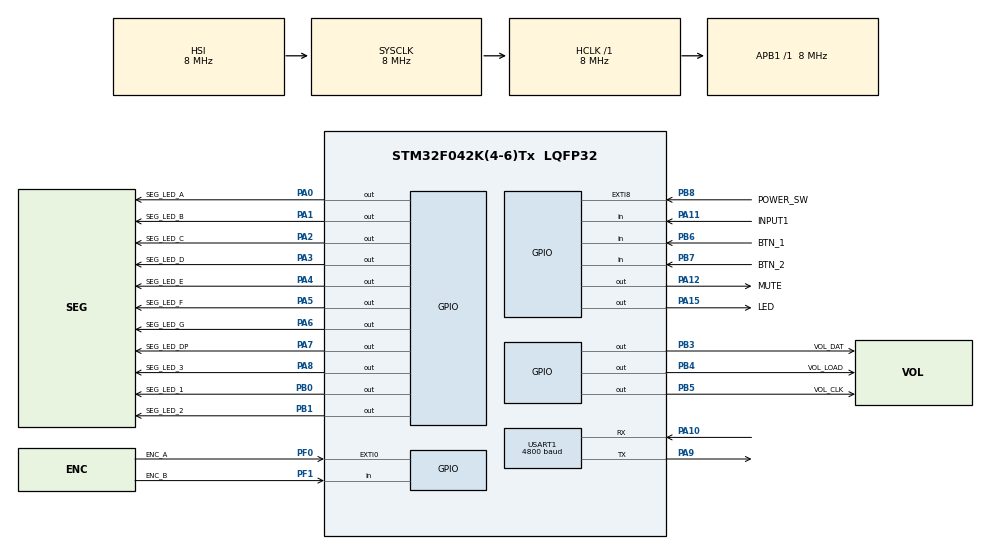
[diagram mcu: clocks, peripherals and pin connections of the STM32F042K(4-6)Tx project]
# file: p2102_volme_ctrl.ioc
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Dma.Request0=USART1_RX
Dma.Request1=USART1_TX
Dma.USART1_RX.0.Direction=DMA_PERIPH_TO_MEMORY
Dma.USART1_RX.0.Instance=DMA1_Channel3
Dma.USART1_RX.0.MemDataAlignment=DMA_MDATAALIGN_BYTE
Dma.USART1_RX.0.MemInc=DMA_MINC_ENABLE
Dma.USART1_RX.0.Mode=DMA_CIRCULAR
Dma.USART1_RX.0.PeriphDataAlignment=DMA_PDATAALIGN_BYTE
Dma.USART1_RX.0.PeriphInc=DMA_PINC_DISABLE
Dma.USART1_RX.0.Priority=DMA_PRIORITY_LOW
Dma.USART1_TX.1.Direction=DMA_MEMORY_TO_PERIPH
Dma.USART1_TX.1.Instance=DMA1_Channel2
Dma.USART1_TX.1.MemDataAlignment=DMA_MDATAALIGN_BYTE
Dma.USART1_TX.1.MemInc=DMA_MINC_ENABLE
Dma.USART1_TX.1.Mode=DMA_NORMAL
Dma.USART1_TX.1.PeriphDataAlignment=DMA_PDATAALIGN_BYTE
Dma.USART1_TX.1.PeriphInc=DMA_PINC_DISABLE
Dma.USART1_TX.1.Priority=DMA_PRIORITY_LOW
Mcu.Family=STM32F0
Mcu.Name=STM32F042K(4-6)Tx
Mcu.Package=LQFP32
NVIC.DMA1_Channel2_3_IRQn=true\:0\:0\:false\:false\:true\:false\:true
NVIC.EXTI0_1_IRQn=true\:1\:0\:true\:false\:true\:true\:true
NVIC.EXTI4_15_IRQn=true\:1\:0\:true\:false\:true\:true\:true
NVIC.TIM2_IRQn=true\:0\:0\:false\:false\:true\:true\:true
NVIC.TIM3_IRQn=true\:0\:0\:false\:false\:true\:true\:true
NVIC.USART1_IRQn=true\:0\:0\:false\:false\:true\:true\:true
PA0.GPIO_Label=SEG_LED_A
PA0.Signal=GPIO_Output
PA1.GPIO_Label=SEG_LED_B
PA1.Signal=GPIO_Output
PA10.GPIO_PuPd=GPIO_PULLUP
PA10.Mode=Asynchronous
PA10.Signal=USART1_RX
PA11.GPIO_Label=INPUT1
PA11.GPIO_PuPd=GPIO_PULLUP
PA11.Signal=GPIO_Input
PA12.GPIO_Label=MUTE
PA12.Signal=GPIO_Output
PA13.Mode=Serial_Wire
PA13.Signal=SYS_SWDIO
PA14.Mode=Serial_Wire
PA14.Signal=SYS_SWCLK
PA15.GPIO_Label=LED
PA15.Signal=GPIO_Output
PA2.GPIO_Label=SEG_LED_C
PA2.Signal=GPIO_Output
PA3.GPIO_Label=SEG_LED_D
PA3.Signal=GPIO_Output
PA4.GPIO_Label=SEG_LED_E
PA4.Signal=GPIO_Output
PA5.GPIO_Label=SEG_LED_F
PA5.Signal=GPIO_Output
PA6.GPIO_Label=SEG_LED_G
PA6.Signal=GPIO_Output
PA7.GPIO_Label=SEG_LED_DP
PA7.Signal=GPIO_Output
PA8.GPIO_Label=SEG_LED_3
PA8.PinState=GPIO_PIN_RESET
PA8.Signal=GPIO_Output
PA9.GPIO_FMA9=__NULL
PA9.Mode=Asynchronous
PA9.Signal=USART1_TX
PB0.GPIO_Label=SEG_LED_1
PB0.PinState=GPIO_PIN_RESET
PB0.Signal=GPIO_Output
PB1.GPIO_Label=SEG_LED_2
PB1.PinState=GPIO_PIN_RESET
PB1.Signal=GPIO_Output
PB3.GPIO_Label=VOL_DAT
PB3.PinState=GPIO_PIN_SET
PB3.Signal=GPIO_Output
PB4.GPIO_Label=VOL_LOAD
PB4.PinState=GPIO_PIN_SET
PB4.Signal=GPIO_Output
PB5.GPIO_Label=VOL_CLK
PB5.PinState=GPIO_PIN_SET
PB5.Signal=GPIO_Output
PB6.GPIO_Label=BTN_1
PB6.GPIO_PuPd=GPIO_PULLUP
PB6.Signal=GPIO_Input
PB7.GPIO_Label=BTN_2
PB7.GPIO_PuPd=GPIO_PULLUP
PB7.Signal=GPIO_Input
PB8.GPIO_Label=POWER_SW
PB8.GPIO_ModeDefaultEXTI=GPIO_MODE_IT_FALLING
PB8.GPIO_PuPd=GPIO_PULLUP
PB8.Signal=GPXTI8
PF0-OSC_IN.GPIO_Label=ENC_A
PF0-OSC_IN.GPIO_ModeDefaultEXTI=GPIO_MODE_IT_RISING_FALLING
PF0-OSC_IN.GPIO_PuPd=GPIO_PULLUP
PF0-OSC_IN.Signal=GPXTI0
PF1-OSC_OUT.GPIO_Label=ENC_B
PF1-OSC_OUT.GPIO_PuPd=GPIO_PULLUP
PF1-OSC_OUT.Signal=GPIO_Input
ProjectManager.HeapSize=0x200
ProjectManager.StackSize=0x400
ProjectManager.TargetToolchain=Makefile
RCC.AHBFreq_Value=8000000
RCC.APB1Freq_Value=8000000
RCC.APB1TimFreq_Value=8000000
RCC.HCLKFreq_Value=8000000
RCC.SYSCLKFreq_VALUE=8000000
TIM2.Period=8000
TIM3.Period=16
USART1.BaudRate=4800
USART1.DMADisableonRxErrorParam=ADVFEATURE_DMA_ENABLEONRXERROR
USART1.DataInvertParam=ADVFEATURE_DATAINV_DISABLE
USART1.Mode=MODE_TX_RX
USART1.RxPinLevelInvertParam=ADVFEATURE_RXINV_DISABLE
USART1.TxPinLevelInvertParam=ADVFEATURE_TXINV_ENABLE
USART1.VirtualMode-Asynchronous=VM_ASYNC
VP_TIM2_VS_ClockSourceINT.Mode=Internal
VP_TIM3_VS_ClockSourceINT.Mode=Internal
board=custom

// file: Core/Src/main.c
/* USER CODE BEGIN Header */
/**
   ******************************************************************************
  * @file           : main.c
  * @brief          : Main program body
  ******************************************************************************
  * @attention
  *
  * <h2><center>&copy; Copyright (c) 2021 STMicroelectronics.
  * All rights reserved.</center></h2>
  *
  * This software component is licensed by ST under BSD 3-Clause license,
  * the "License"; You may not use this file except in compliance with the
  * License. You may obtain a copy of the License at:
  *                        opensource.org/licenses/BSD-3-Clause
  *
  ******************************************************************************
  */
/* USER CODE END Header */
#include "main.h"

/* USER CODE BEGIN Includes */
#include "led.h"
#include "sw.h"
#include "volume.h"
#include "backup.h"
#include "ois.h"
/* USER CODE END Includes */

TIM_HandleTypeDef htim2;
TIM_HandleTypeDef htim3;

UART_HandleTypeDef huart1;
DMA_HandleTypeDef hdma_usart1_rx;
DMA_HandleTypeDef hdma_usart1_tx;

void SystemClock_Config(void);
static void MX_GPIO_Init(void);
static void MX_DMA_Init(void);
static void MX_USART1_UART_Init(void);
static void MX_TIM2_Init(void);
static void MX_TIM3_Init(void);

int main(void)
{

  /* MCU Configuration--------------------------------------------------------*/

  /* Reset of all peripherals, Initializes the Flash interface and the Systick. */
  HAL_Init();

  /* Configure the system clock */
  SystemClock_Config();

  /* Initialize all configured peripherals */
  MX_GPIO_Init();
  MX_DMA_Init();
  MX_USART1_UART_Init();
  MX_TIM2_Init();
  MX_TIM3_Init();
  /* USER CODE BEGIN 2 */
  // HAL_TIM_Base_Start_IT(&htim3);
  HAL_TIM_Base_Start_IT(&htim2);
  LED_Init();
  Vol_Init();
  /* USER CODE END 2 */

  /* Infinite loop */
  /* USER CODE BEGIN WHILE */
  while (1) {
    Sw_In_While();
    Led_In_While();
    OIS_In_While();
    Vol_In_While();
    /* USER CODE END WHILE */

    }
}

void SystemClock_Config(void)
{
  RCC_OscInitTypeDef RCC_OscInitStruct = {0};
  RCC_ClkInitTypeDef RCC_ClkInitStruct = {0};
  RCC_PeriphCLKInitTypeDef PeriphClkInit = {0};

  /** Initializes the RCC Oscillators according to the specified parameters
  * in the RCC_OscInitTypeDef structure.
  */
  RCC_OscInitStruct.OscillatorType = RCC_OSCILLATORTYPE_HSI;
  RCC_OscInitStruct.HSIState = RCC_HSI_ON;
  RCC_OscInitStruct.HSICalibrationValue = RCC_HSICALIBRATION_DEFAULT;
  RCC_OscInitStruct.PLL.PLLState = RCC_PLL_NONE;
  if (HAL_RCC_OscConfig(&RCC_OscInitStruct) != HAL_OK)
  {
    Error_Handler();
  }
  /** Initializes the CPU, AHB and APB buses clocks
  */
  RCC_ClkInitStruct.ClockType = RCC_CLOCKTYPE_HCLK|RCC_CLOCKTYPE_SYSCLK
                              |RCC_CLOCKTYPE_PCLK1;
  RCC_ClkInitStruct.SYSCLKSource = RCC_SYSCLKSOURCE_HSI;
  RCC_ClkInitStruct.AHBCLKDivider = RCC_SYSCLK_DIV1;
  RCC_ClkInitStruct.APB1CLKDivider = RCC_HCLK_DIV1;

  if (HAL_RCC_ClockConfig(&RCC_ClkInitStruct, FLASH_LATENCY_0) != HAL_OK)
  {
    Error_Handler();
  }
  PeriphClkInit.PeriphClockSelection = RCC_PERIPHCLK_USART1;
  PeriphClkInit.Usart1ClockSelection = RCC_USART1CLKSOURCE_PCLK1;
  if (HAL_RCCEx_PeriphCLKConfig(&PeriphClkInit) != HAL_OK)
  {
    Error_Handler();
  }
}

static void MX_TIM2_Init(void)
{

  TIM_ClockConfigTypeDef sClockSourceConfig = {0};
  TIM_MasterConfigTypeDef sMasterConfig = {0};

  htim2.Instance = TIM2;
  htim2.Init.Prescaler = 0;
  htim2.Init.CounterMode = TIM_COUNTERMODE_UP;
  htim2.Init.Period = 8000;
  htim2.Init.ClockDivision = TIM_CLOCKDIVISION_DIV1;
  htim2.Init.AutoReloadPreload = TIM_AUTORELOAD_PRELOAD_DISABLE;
  if (HAL_TIM_Base_Init(&htim2) != HAL_OK)
  {
    Error_Handler();
  }
  sClockSourceConfig.ClockSource = TIM_CLOCKSOURCE_INTERNAL;
  if (HAL_TIM_ConfigClockSource(&htim2, &sClockSourceConfig) != HAL_OK)
  {
    Error_Handler();
  }
  sMasterConfig.MasterOutputTrigger = TIM_TRGO_RESET;
  sMasterConfig.MasterSlaveMode = TIM_MASTERSLAVEMODE_DISABLE;
  if (HAL_TIMEx_MasterConfigSynchronization(&htim2, &sMasterConfig) != HAL_OK)
  {
    Error_Handler();
  }

}

static void MX_TIM3_Init(void)
{

  TIM_ClockConfigTypeDef sClockSourceConfig = {0};
  TIM_MasterConfigTypeDef sMasterConfig = {0};

  htim3.Instance = TIM3;
  htim3.Init.Prescaler = 0;
  htim3.Init.CounterMode = TIM_COUNTERMODE_UP;
  htim3.Init.Period = 16;
  htim3.Init.ClockDivision = TIM_CLOCKDIVISION_DIV1;
  htim3.Init.AutoReloadPreload = TIM_AUTORELOAD_PRELOAD_DISABLE;
  if (HAL_TIM_Base_Init(&htim3) != HAL_OK)
  {
    Error_Handler();
  }
  sClockSourceConfig.ClockSource = TIM_CLOCKSOURCE_INTERNAL;
  if (HAL_TIM_ConfigClockSource(&htim3, &sClockSourceConfig) != HAL_OK)
  {
    Error_Handler();
  }
  sMasterConfig.MasterOutputTrigger = TIM_TRGO_RESET;
  sMasterConfig.MasterSlaveMode = TIM_MASTERSLAVEMODE_DISABLE;
  if (HAL_TIMEx_MasterConfigSynchronization(&htim3, &sMasterConfig) != HAL_OK)
  {
    Error_Handler();
  }

}

static void MX_USART1_UART_Init(void)
{

  huart1.Instance = USART1;
  huart1.Init.BaudRate = 4800;
  huart1.Init.WordLength = UART_WORDLENGTH_8B;
  huart1.Init.StopBits = UART_STOPBITS_1;
  huart1.Init.Parity = UART_PARITY_NONE;
  huart1.Init.Mode = UART_MODE_TX_RX;
  huart1.Init.HwFlowCtl = UART_HWCONTROL_NONE;
  huart1.Init.OverSampling = UART_OVERSAMPLING_16;
  huart1.Init.OneBitSampling = UART_ONE_BIT_SAMPLE_DISABLE;
  huart1.AdvancedInit.AdvFeatureInit = UART_ADVFEATURE_TXINVERT_INIT;
  huart1.AdvancedInit.TxPinLevelInvert = UART_ADVFEATURE_TXINV_ENABLE;
  if (HAL_UART_Init(&huart1) != HAL_OK)
  {
    Error_Handler();
  }
  /* USER CODE BEGIN USART1_Init 2 */
  OIS_Init();
  /* USER CODE END USART1_Init 2 */

}

static void MX_DMA_Init(void)
{

  /* DMA controller clock enable */
  __HAL_RCC_DMA1_CLK_ENABLE();

  /* DMA interrupt init */
  /* DMA1_Channel2_3_IRQn interrupt configuration */
  HAL_NVIC_SetPriority(DMA1_Channel2_3_IRQn, 0, 0);
  HAL_NVIC_EnableIRQ(DMA1_Channel2_3_IRQn);

}

static void MX_GPIO_Init(void)
{
  GPIO_InitTypeDef GPIO_InitStruct = {0};

  /* GPIO Ports Clock Enable */
  __HAL_RCC_GPIOF_CLK_ENABLE();
  __HAL_RCC_GPIOA_CLK_ENABLE();
  __HAL_RCC_GPIOB_CLK_ENABLE();

  /*Configure GPIO pin Output Level */
  HAL_GPIO_WritePin(GPIOA, SEG_LED_A_Pin|SEG_LED_B_Pin|SEG_LED_C_Pin|SEG_LED_D_Pin
                          |SEG_LED_E_Pin|SEG_LED_F_Pin|SEG_LED_G_Pin|SEG_LED_DP_Pin
                          |SEG_LED_3_Pin|MUTE_Pin|LED_Pin, GPIO_PIN_RESET);

  /*Configure GPIO pin Output Level */
  HAL_GPIO_WritePin(GPIOB, SEG_LED_1_Pin|SEG_LED_2_Pin, GPIO_PIN_RESET);

  /*Configure GPIO pin Output Level */
  HAL_GPIO_WritePin(GPIOB, VOL_DAT_Pin|VOL_LOAD_Pin|VOL_CLK_Pin, GPIO_PIN_SET);

  /*Configure GPIO pin : ENC_A_Pin */
  GPIO_InitStruct.Pin = ENC_A_Pin;
  GPIO_InitStruct.Mode = GPIO_MODE_IT_RISING_FALLING;
  GPIO_InitStruct.Pull = GPIO_PULLUP;
  HAL_GPIO_Init(ENC_A_GPIO_Port, &GPIO_InitStruct);

  /*Configure GPIO pin : ENC_B_Pin */
  GPIO_InitStruct.Pin = ENC_B_Pin;
  GPIO_InitStruct.Mode = GPIO_MODE_INPUT;
  GPIO_InitStruct.Pull = GPIO_PULLUP;
  HAL_GPIO_Init(ENC_B_GPIO_Port, &GPIO_InitStruct);

  /*Configure GPIO pins : SEG_LED_A_Pin SEG_LED_B_Pin SEG_LED_C_Pin SEG_LED_D_Pin
                           SEG_LED_E_Pin SEG_LED_F_Pin SEG_LED_G_Pin SEG_LED_DP_Pin
                           SEG_LED_3_Pin MUTE_Pin LED_Pin */
  GPIO_InitStruct.Pin = SEG_LED_A_Pin|SEG_LED_B_Pin|SEG_LED_C_Pin|SEG_LED_D_Pin
                          |SEG_LED_E_Pin|SEG_LED_F_Pin|SEG_LED_G_Pin|SEG_LED_DP_Pin
                          |SEG_LED_3_Pin|MUTE_Pin|LED_Pin;
  GPIO_InitStruct.Mode = GPIO_MODE_OUTPUT_PP;
  GPIO_InitStruct.Pull = GPIO_NOPULL;
  GPIO_InitStruct.Speed = GPIO_SPEED_FREQ_LOW;
  HAL_GPIO_Init(GPIOA, &GPIO_InitStruct);

  /*Configure GPIO pins : SEG_LED_1_Pin SEG_LED_2_Pin VOL_DAT_Pin VOL_LOAD_Pin
                           VOL_CLK_Pin */
  GPIO_InitStruct.Pin = SEG_LED_1_Pin|SEG_LED_2_Pin|VOL_DAT_Pin|VOL_LOAD_Pin
                          |VOL_CLK_Pin;
  GPIO_InitStruct.Mode = GPIO_MODE_OUTPUT_PP;
  GPIO_InitStruct.Pull = GPIO_NOPULL;
  GPIO_InitStruct.Speed = GPIO_SPEED_FREQ_LOW;
  HAL_GPIO_Init(GPIOB, &GPIO_InitStruct);

  /*Configure GPIO pin : INPUT1_Pin */
  GPIO_InitStruct.Pin = INPUT1_Pin;
  GPIO_InitStruct.Mode = GPIO_MODE_INPUT;
  GPIO_InitStruct.Pull = GPIO_PULLUP;
  HAL_GPIO_Init(INPUT1_GPIO_Port, &GPIO_InitStruct);

  /*Configure GPIO pins : BTN_1_Pin BTN_2_Pin */
  GPIO_InitStruct.Pin = BTN_1_Pin|BTN_2_Pin;
  GPIO_InitStruct.Mode = GPIO_MODE_INPUT;
  GPIO_InitStruct.Pull = GPIO_PULLUP;
  HAL_GPIO_Init(GPIOB, &GPIO_InitStruct);

  /*Configure GPIO pin : POWER_SW_Pin */
  GPIO_InitStruct.Pin = POWER_SW_Pin;
  GPIO_InitStruct.Mode = GPIO_MODE_IT_FALLING;
  GPIO_InitStruct.Pull = GPIO_PULLUP;
  HAL_GPIO_Init(POWER_SW_GPIO_Port, &GPIO_InitStruct);

  /* EXTI interrupt init*/
  HAL_NVIC_SetPriority(EXTI0_1_IRQn, 1, 0);
  HAL_NVIC_EnableIRQ(EXTI0_1_IRQn);

  HAL_NVIC_SetPriority(EXTI4_15_IRQn, 1, 0);
  HAL_NVIC_EnableIRQ(EXTI4_15_IRQn);

}

/* USER CODE BEGIN 4 */
void HAL_UART_TxCpltCallback(UART_HandleTypeDef *huart) {  //UART TX end interrupt
    huart->gState = HAL_UART_STATE_READY;
}
void HAL_TIM_PeriodElapsedCallback(TIM_HandleTypeDef *htim) {  //timer割り込み
  if (htim == &htim3) {//2us
    Vol_In_Timer_2us();
  }
  if (htim == &htim2) {//1ms
    Sw_In_Timer();
    LED_In_Timer();
    Vol_In_Timer_1ms();
  }
}
void HAL_GPIO_EXTI_Callback(uint16_t GPIO_Pin) {
  Sw_In_Interrupt(GPIO_Pin);
}
/* USER CODE END 4 */

void Error_Handler(void)
{
    __disable_irq();
    while (1)
    {
    }
}

/************************ (C) COPYRIGHT STMicroelectronics *****END OF FILE****/
